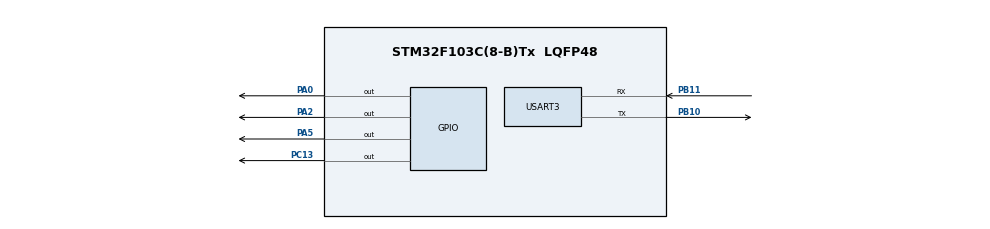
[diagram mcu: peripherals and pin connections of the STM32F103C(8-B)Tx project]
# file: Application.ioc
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Mcu.Family=STM32F1
Mcu.Name=STM32F103C(8-B)Tx
Mcu.Package=LQFP48
NVIC.PriorityGroup=NVIC_PRIORITYGROUP_4
PA0-WKUP.Signal=GPIO_Output
PA13.Mode=Serial_Wire
PA13.Signal=SYS_JTMS-SWDIO
PA14.Mode=Serial_Wire
PA14.Signal=SYS_JTCK-SWCLK
PA2.Signal=GPIO_Output
PA5.Signal=GPIO_Output
PB10.Mode=Asynchronous
PB10.Signal=USART3_TX
PB11.Mode=Asynchronous
PB11.Signal=USART3_RX
PC13-TAMPER-RTC.Signal=GPIO_Output
PD0-OSC_IN.Mode=HSE-External-Oscillator
PD0-OSC_IN.Signal=RCC_OSC_IN
PD1-OSC_OUT.Mode=HSE-External-Oscillator
PD1-OSC_OUT.Signal=RCC_OSC_OUT
ProjectManager.HeapSize=0x200
ProjectManager.StackSize=0x400
ProjectManager.TargetToolchain=MDK-ARM V5.32
RCC.APB1Freq_Value=8000000
RCC.APB2Freq_Value=8000000
USART3.VirtualMode=VM_ASYNC
board=custom

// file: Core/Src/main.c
/* USER CODE BEGIN Header */
/**
  ******************************************************************************
  * @file           : main.c
  * @brief          : Main program body
  ******************************************************************************
  * @attention
  *
  * Copyright (c) 2025 STMicroelectronics.
  * All rights reserved.
  *
  * This software is licensed under terms that can be found in the LICENSE file
  * in the root directory of this software component.
  * If no LICENSE file comes with this software, it is provided AS-IS.
  *
  ******************************************************************************
  */
/* USER CODE END Header */
#include "main.h"

/* USER CODE BEGIN Includes */
#include "stdarg.h"
#include "stdio.h"
#include "string.h"

/* USER CODE END Includes */

UART_HandleTypeDef huart3;

void SystemClock_Config(void);
static void MX_GPIO_Init(void);
static void MX_USART3_UART_Init(void);

/* USER CODE BEGIN 0 */
char buff[40];

void HAL_PRINTF(const char* format, ...)
{
    va_list args;
    va_start(args, format);
    memset(buff, 0, sizeof(buff)); // XСa buffer
    vsnprintf(buff, sizeof(buff), format, args);
    va_end(args);
    HAL_UART_Transmit(&huart3, (uint8_t*)buff, strlen(buff), 1000);
}
/* USER CODE END 0 */

int main(void)
{

  /* MCU Configuration--------------------------------------------------------*/

  /* Reset of all peripherals, Initializes the Flash interface and the Systick. */
  HAL_Init();

  /* Configure the system clock */
  SystemClock_Config();

  /* Initialize all configured peripherals */
  MX_GPIO_Init();
  MX_USART3_UART_Init();
  /* USER CODE BEGIN 2 */
	SCB->VTOR = 0x800C800;
  /* USER CODE END 2 */

  /* Infinite loop */
  while (1)
  {

    /* USER CODE BEGIN 3 */
		HAL_PRINTF("Firmware main.bin running ....\n");
		HAL_GPIO_TogglePin(GPIOC, GPIO_PIN_13);
		HAL_PRINTF("The Led toggled \r\n");
		HAL_PRINTF("Delay is running ....\r\n");
//		for(int i=0; i<1000000; i++);
		HAL_Delay(1000);
		HAL_PRINTF("Delay ended\r\n");
  }
  /* USER CODE END 3 */
}

void SystemClock_Config(void)
{
  RCC_OscInitTypeDef RCC_OscInitStruct = {0};
  RCC_ClkInitTypeDef RCC_ClkInitStruct = {0};

  /** Initializes the RCC Oscillators according to the specified parameters
  * in the RCC_OscInitTypeDef structure.
  */
  RCC_OscInitStruct.OscillatorType = RCC_OSCILLATORTYPE_HSI;
  RCC_OscInitStruct.HSIState = RCC_HSI_ON;
  RCC_OscInitStruct.HSICalibrationValue = RCC_HSICALIBRATION_DEFAULT;
  RCC_OscInitStruct.PLL.PLLState = RCC_PLL_NONE;
  if (HAL_RCC_OscConfig(&RCC_OscInitStruct) != HAL_OK)
  {
    Error_Handler();
  }

  /** Initializes the CPU, AHB and APB buses clocks
  */
  RCC_ClkInitStruct.ClockType = RCC_CLOCKTYPE_HCLK|RCC_CLOCKTYPE_SYSCLK
                              |RCC_CLOCKTYPE_PCLK1|RCC_CLOCKTYPE_PCLK2;
  RCC_ClkInitStruct.SYSCLKSource = RCC_SYSCLKSOURCE_HSI;
  RCC_ClkInitStruct.AHBCLKDivider = RCC_SYSCLK_DIV1;
  RCC_ClkInitStruct.APB1CLKDivider = RCC_HCLK_DIV1;
  RCC_ClkInitStruct.APB2CLKDivider = RCC_HCLK_DIV1;

  if (HAL_RCC_ClockConfig(&RCC_ClkInitStruct, FLASH_LATENCY_0) != HAL_OK)
  {
    Error_Handler();
  }
}

static void MX_USART3_UART_Init(void)
{

  huart3.Instance = USART3;
  huart3.Init.BaudRate = 115200;
  huart3.Init.WordLength = UART_WORDLENGTH_8B;
  huart3.Init.StopBits = UART_STOPBITS_1;
  huart3.Init.Parity = UART_PARITY_NONE;
  huart3.Init.Mode = UART_MODE_TX_RX;
  huart3.Init.HwFlowCtl = UART_HWCONTROL_NONE;
  huart3.Init.OverSampling = UART_OVERSAMPLING_16;
  if (HAL_UART_Init(&huart3) != HAL_OK)
  {
    Error_Handler();
  }

}

static void MX_GPIO_Init(void)
{
  GPIO_InitTypeDef GPIO_InitStruct = {0};

  /* GPIO Ports Clock Enable */
  __HAL_RCC_GPIOC_CLK_ENABLE();
  __HAL_RCC_GPIOD_CLK_ENABLE();
  __HAL_RCC_GPIOA_CLK_ENABLE();
  __HAL_RCC_GPIOB_CLK_ENABLE();

  /*Configure GPIO pin Output Level */
  HAL_GPIO_WritePin(GPIOC, GPIO_PIN_13, GPIO_PIN_RESET);

  /*Configure GPIO pin Output Level */
  HAL_GPIO_WritePin(GPIOA, GPIO_PIN_0|GPIO_PIN_2|GPIO_PIN_5, GPIO_PIN_RESET);

  /*Configure GPIO pin : PC13 */
  GPIO_InitStruct.Pin = GPIO_PIN_13;
  GPIO_InitStruct.Mode = GPIO_MODE_OUTPUT_PP;
  GPIO_InitStruct.Pull = GPIO_NOPULL;
  GPIO_InitStruct.Speed = GPIO_SPEED_FREQ_LOW;
  HAL_GPIO_Init(GPIOC, &GPIO_InitStruct);

  /*Configure GPIO pins : PA0 PA2 PA5 */
  GPIO_InitStruct.Pin = GPIO_PIN_0|GPIO_PIN_2|GPIO_PIN_5;
  GPIO_InitStruct.Mode = GPIO_MODE_OUTPUT_PP;
  GPIO_InitStruct.Pull = GPIO_NOPULL;
  GPIO_InitStruct.Speed = GPIO_SPEED_FREQ_LOW;
  HAL_GPIO_Init(GPIOA, &GPIO_InitStruct);

}

void Error_Handler(void)
{
  __disable_irq();
  while (1)
  {
  }
}
